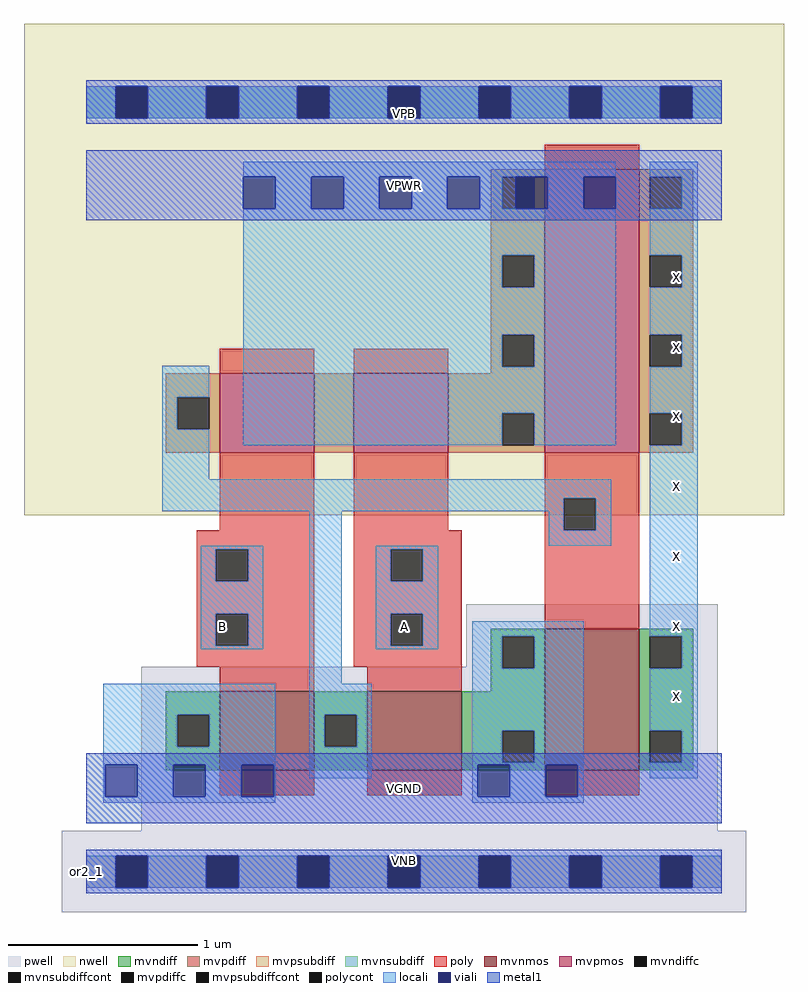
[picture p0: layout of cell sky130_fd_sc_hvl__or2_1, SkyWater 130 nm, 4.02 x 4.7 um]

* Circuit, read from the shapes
.subckt sky130_fd_sc_hvl__or2_1 A B VGND VNB VPB VPWR X
XM1 n1 B VGND VNB sky130_fd_pr__nfet_g5v0d10v5 w=0.42 l=0.5
XM2 VGND A n1 VNB sky130_fd_pr__nfet_g5v0d10v5 w=0.42 l=0.5
XM3 X n1 VGND VNB sky130_fd_pr__nfet_g5v0d10v5 w=0.75 l=0.5
XM4 n2 B n1 VPB sky130_fd_pr__pfet_g5v0d10v5 w=0.42 l=0.5
XM5 VPWR A n2 VPB sky130_fd_pr__pfet_g5v0d10v5 w=0.42 l=0.5
XM6 X n1 VPWR VPB sky130_fd_pr__pfet_g5v0d10v5 w=1.5 l=0.5
.ends

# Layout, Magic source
magic
tech sky130B
magscale 1 2
<< nwell >>
rect -66 377 738 897
<< pwell >>
rect 402 217 668 283
rect 58 43 668 217
rect -26 -43 698 43
<< mvnmos >>
rect 141 107 241 191
rect 297 107 397 191
rect 485 107 585 257
<< mvpmos >>
rect 141 443 241 527
rect 283 443 383 527
rect 485 443 585 743
<< mvndiff >>
rect 428 249 485 257
rect 428 215 440 249
rect 474 215 485 249
rect 428 191 485 215
rect 84 166 141 191
rect 84 132 96 166
rect 130 132 141 166
rect 84 107 141 132
rect 241 166 297 191
rect 241 132 252 166
rect 286 132 297 166
rect 241 107 297 132
rect 397 149 485 191
rect 397 115 440 149
rect 474 115 485 149
rect 397 107 485 115
rect 585 249 642 257
rect 585 215 596 249
rect 630 215 642 249
rect 585 149 642 215
rect 585 115 596 149
rect 630 115 642 149
rect 585 107 642 115
<< mvpdiff >>
rect 428 735 485 743
rect 428 701 440 735
rect 474 701 485 735
rect 428 652 485 701
rect 428 618 440 652
rect 474 618 485 652
rect 428 568 485 618
rect 428 534 440 568
rect 474 534 485 568
rect 428 527 485 534
rect 84 502 141 527
rect 84 468 96 502
rect 130 468 141 502
rect 84 443 141 468
rect 241 443 283 527
rect 383 485 485 527
rect 383 451 440 485
rect 474 451 485 485
rect 383 443 485 451
rect 585 735 642 743
rect 585 701 596 735
rect 630 701 642 735
rect 585 652 642 701
rect 585 618 596 652
rect 630 618 642 652
rect 585 568 642 618
rect 585 534 596 568
rect 630 534 642 568
rect 585 485 642 534
rect 585 451 596 485
rect 630 451 642 485
rect 585 443 642 451
<< mvndiffc >>
rect 440 215 474 249
rect 96 132 130 166
rect 252 132 286 166
rect 440 115 474 149
rect 596 215 630 249
rect 596 115 630 149
<< mvpdiffc >>
rect 440 701 474 735
rect 440 618 474 652
rect 440 534 474 568
rect 96 468 130 502
rect 440 451 474 485
rect 596 701 630 735
rect 596 618 630 652
rect 596 534 630 568
rect 596 451 630 485
<< mvpsubdiff >>
rect 0 -17 31 17
rect 65 -17 127 17
rect 161 -17 223 17
rect 257 -17 319 17
rect 353 -17 415 17
rect 449 -17 511 17
rect 545 -17 607 17
rect 641 -17 672 17
<< mvnsubdiff >>
rect 0 797 31 831
rect 65 797 127 831
rect 161 797 223 831
rect 257 797 319 831
rect 353 797 415 831
rect 449 797 511 831
rect 545 797 607 831
rect 641 797 672 831
<< mvpsubdiffcont >>
rect 31 -17 65 17
rect 127 -17 161 17
rect 223 -17 257 17
rect 319 -17 353 17
rect 415 -17 449 17
rect 511 -17 545 17
rect 607 -17 641 17
<< mvnsubdiffcont >>
rect 31 797 65 831
rect 127 797 161 831
rect 223 797 257 831
rect 319 797 353 831
rect 415 797 449 831
rect 511 797 545 831
rect 607 797 641 831
<< poly >>
rect 485 743 585 769
rect 141 527 241 553
rect 283 527 383 553
rect 141 361 241 443
rect 117 341 241 361
rect 117 307 137 341
rect 171 307 241 341
rect 117 273 241 307
rect 117 239 137 273
rect 171 239 241 273
rect 117 217 241 239
rect 283 361 383 443
rect 485 395 585 443
rect 485 361 505 395
rect 539 361 585 395
rect 283 341 397 361
rect 283 307 322 341
rect 356 307 397 341
rect 283 273 397 307
rect 283 239 322 273
rect 356 239 397 273
rect 485 257 585 361
rect 283 217 397 239
rect 141 191 241 217
rect 297 191 397 217
rect 141 81 241 107
rect 297 81 397 107
rect 485 81 585 107
<< polycont >>
rect 137 307 171 341
rect 137 239 171 273
rect 505 361 539 395
rect 322 307 356 341
rect 322 239 356 273
<< locali >>
rect 0 797 31 831
rect 65 797 127 831
rect 161 797 223 831
rect 257 797 319 831
rect 353 797 415 831
rect 449 797 511 831
rect 545 797 607 831
rect 641 797 672 831
rect 166 735 560 751
rect 200 701 238 735
rect 272 701 310 735
rect 344 701 382 735
rect 416 701 440 735
rect 488 701 526 735
rect 166 652 560 701
rect 166 618 440 652
rect 474 618 560 652
rect 166 568 560 618
rect 80 502 130 535
rect 80 468 96 502
rect 80 415 130 468
rect 166 534 440 568
rect 474 534 560 568
rect 166 485 560 534
rect 166 451 440 485
rect 474 451 560 485
rect 596 735 647 751
rect 630 701 647 735
rect 596 652 647 701
rect 630 618 647 652
rect 596 568 647 618
rect 630 534 647 568
rect 596 485 647 534
rect 630 451 647 485
rect 80 395 555 415
rect 80 381 505 395
rect 121 341 187 345
rect 121 307 137 341
rect 171 307 187 341
rect 121 273 187 307
rect 121 239 137 273
rect 171 239 187 273
rect 121 235 187 239
rect 236 199 270 381
rect 489 361 505 381
rect 539 361 555 395
rect 489 345 555 361
rect 306 341 372 345
rect 306 307 322 341
rect 356 307 372 341
rect 306 273 372 307
rect 306 239 322 273
rect 356 239 372 273
rect 306 235 372 239
rect 408 249 526 265
rect 408 215 440 249
rect 474 215 526 249
rect 18 166 200 199
rect 18 132 96 166
rect 130 132 200 166
rect 18 113 200 132
rect 18 79 20 113
rect 54 79 92 113
rect 126 79 164 113
rect 198 79 200 113
rect 236 166 302 199
rect 236 132 252 166
rect 286 132 302 166
rect 236 99 302 132
rect 408 149 526 215
rect 408 115 440 149
rect 474 115 526 149
rect 408 113 526 115
rect 18 73 200 79
rect 408 79 414 113
rect 448 79 486 113
rect 520 79 526 113
rect 596 249 647 451
rect 630 215 647 249
rect 596 149 647 215
rect 630 115 647 149
rect 596 99 647 115
rect 408 73 526 79
rect 0 -17 31 17
rect 65 -17 127 17
rect 161 -17 223 17
rect 257 -17 319 17
rect 353 -17 415 17
rect 449 -17 511 17
rect 545 -17 607 17
rect 641 -17 672 17
<< viali >>
rect 31 797 65 831
rect 127 797 161 831
rect 223 797 257 831
rect 319 797 353 831
rect 415 797 449 831
rect 511 797 545 831
rect 607 797 641 831
rect 166 701 200 735
rect 238 701 272 735
rect 310 701 344 735
rect 382 701 416 735
rect 454 701 474 735
rect 474 701 488 735
rect 526 701 560 735
rect 20 79 54 113
rect 92 79 126 113
rect 164 79 198 113
rect 414 79 448 113
rect 486 79 520 113
rect 31 -17 65 17
rect 127 -17 161 17
rect 223 -17 257 17
rect 319 -17 353 17
rect 415 -17 449 17
rect 511 -17 545 17
rect 607 -17 641 17
<< metal1 >>
rect 0 831 672 837
rect 0 797 31 831
rect 65 797 127 831
rect 161 797 223 831
rect 257 797 319 831
rect 353 797 415 831
rect 449 797 511 831
rect 545 797 607 831
rect 641 797 672 831
rect 0 791 672 797
rect 0 735 672 763
rect 0 701 166 735
rect 200 701 238 735
rect 272 701 310 735
rect 344 701 382 735
rect 416 701 454 735
rect 488 701 526 735
rect 560 701 672 735
rect 0 689 672 701
rect 0 113 672 125
rect 0 79 20 113
rect 54 79 92 113
rect 126 79 164 113
rect 198 79 414 113
rect 448 79 486 113
rect 520 79 672 113
rect 0 51 672 79
rect 0 17 672 23
rect 0 -17 31 17
rect 65 -17 127 17
rect 161 -17 223 17
rect 257 -17 319 17
rect 353 -17 415 17
rect 449 -17 511 17
rect 545 -17 607 17
rect 641 -17 672 17
rect 0 -23 672 -17
<< labels >>
rlabel comment s 0 0 0 0 4 or2_1
flabel metal1 s 0 51 672 125 0 FreeSans 340 0 0 0 VGND
port 3 nsew ground bidirectional
flabel metal1 s 0 0 672 23 0 FreeSans 340 0 0 0 VNB
port 4 nsew ground bidirectional
flabel metal1 s 0 689 672 763 0 FreeSans 340 0 0 0 VPWR
port 6 nsew power bidirectional
flabel metal1 s 0 791 672 814 0 FreeSans 340 0 0 0 VPB
port 5 nsew power bidirectional
flabel locali s 319 242 353 276 0 FreeSans 340 0 0 0 A
port 1 nsew signal input
flabel locali s 607 168 641 202 0 FreeSans 340 0 0 0 X
port 7 nsew signal output
flabel locali s 607 242 641 276 0 FreeSans 340 0 0 0 X
port 7 nsew signal output
flabel locali s 607 316 641 350 0 FreeSans 340 0 0 0 X
port 7 nsew signal output
flabel locali s 607 390 641 424 0 FreeSans 340 0 0 0 X
port 7 nsew signal output
flabel locali s 607 464 641 498 0 FreeSans 340 0 0 0 X
port 7 nsew signal output
flabel locali s 607 538 641 572 0 FreeSans 340 0 0 0 X
port 7 nsew signal output
flabel locali s 607 612 641 646 0 FreeSans 340 0 0 0 X
port 7 nsew signal output
flabel locali s 127 242 161 276 0 FreeSans 340 0 0 0 B
port 2 nsew signal input
<< properties >>
string FIXED_BBOX 0 0 672 814
string GDS_END 376290
string GDS_FILE $PDKPATH/libs.ref/sky130_fd_sc_hvl/gds/sky130_fd_sc_hvl.gds
string GDS_START 367608
string LEFclass CORE
string LEFsite unithv
string LEFsymmetry X Y
<< end >>
